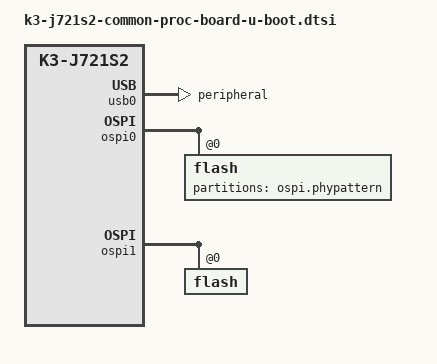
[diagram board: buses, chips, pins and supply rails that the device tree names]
// SPDX-License-Identifier: GPL-2.0
/*
 * Copyright (C) 2021 Texas Instruments Incorporated - https://www.ti.com/
 */

/ {
	chosen {
		stdout-path = "serial2:115200n8";
		tick-timer = &timer1;
	};

	aliases {
		serial0 = &wkup_uart0;
		serial1 = &mcu_uart0;
		serial2 = &main_uart8;
		i2c0 = &wkup_i2c0;
		i2c1 = &mcu_i2c0;
		i2c2 = &mcu_i2c1;
		i2c3 = &main_i2c0;
		ethernet0 = &cpsw_port1;
		spi0 = &ospi0;
		spi1 = &ospi1;
	};
};

&wkup_i2c0 {
	u-boot,dm-spl;
};

&cbass_main {
	u-boot,dm-spl;
};

&main_navss {
	u-boot,dm-spl;
};

&main_r5fss0 {
	ti,cluster-mode = <0>;
};

&main_r5fss1 {
	ti,cluster-mode = <0>;
};

&cbass_mcu_wakeup {
	u-boot,dm-spl;

	timer1: timer@40400000 {
		compatible = "ti,omap5430-timer";
		reg = <0x0 0x40400000 0x0 0x80>;
		ti,timer-alwon;
		clock-frequency = <250000000>;
		u-boot,dm-spl;
	};

	chipid@43000014 {
		u-boot,dm-spl;
	};
};

&mcu_navss {
	u-boot,dm-spl;
};

&mcu_ringacc {
	reg =   <0x0 0x2b800000 0x0 0x400000>,
		<0x0 0x2b000000 0x0 0x400000>,
		<0x0 0x28590000 0x0 0x100>,
		<0x0 0x2a500000 0x0 0x40000>,
		<0x0 0x28440000 0x0 0x40000>;
	reg-names = "rt", "fifos", "proxy_gcfg", "proxy_target", "cfg";
	u-boot,dm-spl;
};

&mcu_udmap {
	reg =   <0x0 0x285c0000 0x0 0x100>,
		<0x0 0x284c0000 0x0 0x4000>,
		<0x0 0x2a800000 0x0 0x40000>,
		<0x0 0x284a0000 0x0 0x4000>,
		<0x0 0x2aa00000 0x0 0x40000>,
		<0x0 0x28400000 0x0 0x2000>;
	reg-names = "gcfg", "rchan", "rchanrt", "tchan",
		    "tchanrt", "rflow";
	u-boot,dm-spl;
};

&secure_proxy_main {
	u-boot,dm-spl;
};

&sms {
	u-boot,dm-spl;
	k3_sysreset: sysreset-controller {
		compatible = "ti,sci-sysreset";
		u-boot,dm-spl;
	};
};

&main_pmx0 {
	u-boot,dm-spl;
};

&main_uart8_pins_default {
	u-boot,dm-spl;
};

&main_mmc1_pins_default {
	u-boot,dm-spl;
};

&main_usbss0_pins_default {
	u-boot,dm-spl;
};

&wkup_pmx0 {
	u-boot,dm-spl;
};

&k3_pds {
	u-boot,dm-spl;
};

&k3_clks {
	u-boot,dm-spl;
};

&k3_reset {
	u-boot,dm-spl;
};

&main_uart8 {
	u-boot,dm-spl;
};

&mcu_uart0 {
	u-boot,dm-spl;
};

&wkup_uart0 {
	u-boot,dm-spl;
};

&fss {
	u-boot,dm-spl;
};

&usbss0 {
	u-boot,dm-spl;
};

&usb0 {
	dr_mode = "peripheral";
	u-boot,dm-spl;
};

&mcu_cpsw {
	reg = <0x0 0x46000000 0x0 0x200000>,
	      <0x0 0x40f00200 0x0 0x8>;
	reg-names = "cpsw_nuss", "mac_efuse";
	/delete-property/ ranges;

	cpsw-phy-sel@40f04040 {
		compatible = "ti,am654-cpsw-phy-sel";
		reg= <0x0 0x40f04040 0x0 0x4>;
		reg-names = "gmii-sel";
	};
};

&mcu_fss0_ospi0_pins_default {
	u-boot,dm-spl;
};

&mcu_fss0_ospi1_pins_default {
	u-boot,dm-spl;
};

&wiz0_pll1_refclk {
	assigned-clocks = <&wiz0_pll1_refclk>, <&wiz0_pll0_refclk>;
	assigned-clock-parents = <&k3_clks 365 3>, <&k3_clks 365 0>;
};

&serdes_ln_ctrl {
	u-boot,mux-autoprobe;
};

&usb_serdes_mux {
	u-boot,mux-autoprobe;
};

&ospi0 {
	u-boot,dm-spl;

	flash@0 {
		cdns,phy-mode;
		u-boot,dm-spl;

		partition@3fc0000 {
			label = "ospi.phypattern";
			reg = <0x3fc0000 0x40000>;
			u-boot,dm-spl;
		};
	};
};

&ospi1 {
	u-boot,dm-spl;

	flash@0 {
		u-boot,dm-spl;
	};
};

&main_sdhci0 {
	u-boot,dm-spl;
};

&main_sdhci1 {
	u-boot,dm-spl;
};
